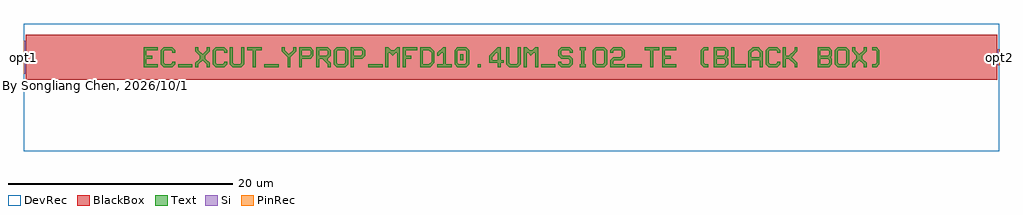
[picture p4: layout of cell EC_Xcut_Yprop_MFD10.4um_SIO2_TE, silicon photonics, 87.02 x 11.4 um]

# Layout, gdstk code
import gdstk
lib = gdstk.Library(unit=1e-6, precision=1e-10)
def R(c, l, rs):  # rectangles x0, y0, x1, y1
    for r in rs: c.add(gdstk.rectangle(r[:2], r[2:], *l))
def P(c, l, *ps):  # polygons
    for p in ps: c.add(gdstk.Polygon(p, *l))
Si = (1, 0)
PinRec = (1, 10)
Text = (10, 0)
DevRec = (68, 0)
BlackBox = (998, 0)

text_11 = lib.new_cell('TEXT$11')
R(text_11, Text, [(3.082,0,4.366,0.257), (10.787,0,12.071,0.257), (20.033,0,21.317,0.257), (29.793,0,30.05,0.257), (35.443,0,36.727,0.257), (43.148,0,44.432,0.257), (28.252,0.642,28.509,1.156)])
P(text_11, Text, [(0,0),(0,1.798),(1.284,1.798),(1.284,1.541),(0.257,1.541),(0.257,1.028),(0.771,1.028),(0.771,0.771),(0.257,0.771),(0.257,0.257),(1.284,0.257),(1.284,0)],
  [(1.798,0),(1.541,0.257),(1.541,1.541),(1.798,1.798),(2.569,1.798),(2.825,1.541),(2.825,1.284),(2.569,1.284),(2.569,1.413),(2.44,1.541),(1.926,1.541),(1.798,1.413),(1.798,0.385),(1.926,0.257),(2.44,0.257),(2.569,0.385),(2.569,0.514),(2.825,0.514),(2.825,0.257),(2.569,0)],
  [(4.623,0),(4.623,0.385),(5.008,0.771),(5.008,1.028),(4.623,1.413),(4.623,1.798),(4.88,1.798),(4.88,1.541),(5.265,1.156),(5.651,1.541),(5.651,1.798),(5.907,1.798),(5.907,1.413),(5.522,1.028),(5.522,0.771),(5.907,0.385),(5.907,0),(5.651,0),(5.651,0.257),(5.265,0.642),(4.88,0.257),(4.88,0)],
  [(6.421,0),(6.164,0.257),(6.164,1.541),(6.421,1.798),(7.192,1.798),(7.448,1.541),(7.448,1.284),(7.192,1.284),(7.192,1.413),(7.063,1.541),(6.549,1.541),(6.421,1.413),(6.421,0.385),(6.549,0.257),(7.063,0.257),(7.192,0.385),(7.192,0.514),(7.448,0.514),(7.448,0.257),(7.192,0)],
  [(7.962,0),(7.705,0.257),(7.705,1.798),(7.962,1.798),(7.962,0.385),(8.09,0.257),(8.604,0.257),(8.733,0.385),(8.733,1.798),(8.989,1.798),(8.989,0.257),(8.733,0)],
  [(9.76,0),(9.76,1.541),(9.246,1.541),(9.246,1.798),(10.53,1.798),(10.53,1.541),(10.017,1.541),(10.017,0)],
  [(12.842,0),(12.842,0.899),(12.328,1.413),(12.328,1.798),(12.585,1.798),(12.585,1.541),(12.97,1.156),(13.356,1.541),(13.356,1.798),(13.612,1.798),(13.612,1.413),(13.099,0.899),(13.099,0)],
  [(13.869,0),(13.869,1.798),(14.897,1.798),(15.153,1.541),(15.153,1.028),(14.897,0.771),(14.126,0.771),(14.126,1.028),(14.768,1.028),(14.897,1.156),(14.897,1.413),(14.768,1.541),(14.126,1.541),(14.126,0)],
  [(15.41,0),(15.41,1.798),(16.438,1.798),(16.694,1.541),(15.667,1.541),(15.667,1.028),(16.309,1.028),(16.438,1.156),(16.438,1.413),(16.309,1.541),(16.694,1.541),(16.694,1.028),(16.438,0.771),(16.438,0.642),(16.694,0.385),(16.694,0),(16.438,0),(16.438,0.257),(15.924,0.771),(15.667,0.771),(15.667,0)],
  [(17.208,0),(16.951,0.257),(16.951,1.541),(17.208,1.798),(17.979,1.798),(18.235,1.541),(18.235,0.899),(17.979,0.899),(17.979,1.413),(17.85,1.541),(17.336,1.541),(17.208,1.413),(17.208,0.385),(17.336,0.257),(17.85,0.257),(17.979,0.385),(17.979,0.899),(18.235,0.899),(18.235,0.257),(17.979,0)],
  [(18.492,0),(18.492,1.798),(19.52,1.798),(19.776,1.541),(19.776,1.028),(19.52,0.771),(18.749,0.771),(18.749,1.028),(19.391,1.028),(19.52,1.156),(19.52,1.413),(19.391,1.541),(18.749,1.541),(18.749,0)],
  [(21.574,0),(21.574,1.798),(21.831,1.798),(22.088,1.541),(22.345,1.541),(22.602,1.798),(22.858,1.798),(22.858,0),(22.602,0),(22.602,1.284),(22.473,1.284),(22.216,1.028),(21.959,1.284),(21.831,1.284),(21.831,0)],
  [(23.115,0),(23.115,1.798),(24.399,1.798),(24.399,1.541),(23.372,1.541),(23.372,1.028),(23.886,1.028),(23.886,0.771),(23.372,0.771),(23.372,0)],
  [(24.656,0),(24.656,1.798),(25.555,1.798),(25.812,1.541),(24.913,1.541),(24.913,0.257),(25.427,0.257),(25.684,0.514),(25.684,1.284),(25.427,1.541),(25.812,1.541),(25.94,1.413),(25.94,0.385),(25.555,0)],
  [(26.197,0),(26.197,0.257),(26.711,0.257),(26.711,1.284),(26.582,1.284),(26.325,1.028),(26.197,1.028),(26.197,1.284),(26.711,1.798),(26.968,1.798),(26.968,0.257),(27.481,0.257),(27.481,0)],
  [(27.995,0),(27.738,0.257),(27.738,1.541),(27.995,1.798),(28.766,1.798),(29.022,1.541),(28.123,1.541),(27.995,1.413),(27.995,0.385),(28.123,0.257),(28.637,0.257),(28.766,0.385),(28.766,1.413),(28.637,1.541),(29.022,1.541),(29.022,0.257),(28.766,0)],
  [(31.591,0),(31.591,0.385),(30.82,0.385),(30.82,0.642),(31.591,0.642),(31.591,1.284),(31.462,1.284),(31.077,0.899),(31.077,0.642),(30.82,0.642),(30.82,1.028),(31.591,1.798),(31.848,1.798),(31.848,0.642),(32.104,0.642),(32.104,0.385),(31.848,0.385),(31.848,0)],
  [(32.618,0),(32.361,0.257),(32.361,1.798),(32.618,1.798),(32.618,0.385),(32.746,0.257),(33.26,0.257),(33.389,0.385),(33.389,1.798),(33.645,1.798),(33.645,0.257),(33.389,0)],
  [(33.902,0),(33.902,1.798),(34.159,1.798),(34.416,1.541),(34.673,1.541),(34.93,1.798),(35.186,1.798),(35.186,0),(34.93,0),(34.93,1.284),(34.801,1.284),(34.544,1.028),(34.287,1.284),(34.159,1.284),(34.159,0)],
  [(37.241,0),(36.984,0.257),(36.984,0.514),(37.241,0.514),(37.241,0.385),(37.369,0.257),(37.883,0.257),(38.012,0.385),(38.012,0.642),(37.883,0.771),(37.241,0.771),(36.984,1.028),(36.984,1.541),(37.241,1.798),(38.012,1.798),(38.268,1.541),(38.268,1.284),(38.012,1.284),(38.012,1.413),(37.883,1.541),(37.369,1.541),(37.241,1.413),(37.241,1.156),(37.369,1.028),(38.012,1.028),(38.268,0.771),(38.268,0.257),(38.012,0)],
  [(38.91,0),(38.91,0.257),(39.039,0.257),(39.039,1.541),(38.91,1.541),(38.91,1.798),(39.424,1.798),(39.424,1.541),(39.296,1.541),(39.296,0.257),(39.424,0.257),(39.424,0)],
  [(40.323,0),(40.066,0.257),(40.066,1.541),(40.323,1.798),(41.094,1.798),(41.35,1.541),(41.35,0.899),(41.094,0.899),(41.094,1.413),(40.965,1.541),(40.451,1.541),(40.323,1.413),(40.323,0.385),(40.451,0.257),(40.965,0.257),(41.094,0.385),(41.094,0.899),(41.35,0.899),(41.35,0.257),(41.094,0)],
  [(41.607,0),(41.607,0.642),(41.864,0.899),(42.506,0.899),(42.635,1.028),(42.635,1.413),(42.506,1.541),(41.992,1.541),(41.864,1.413),(41.864,1.284),(41.607,1.284),(41.607,1.541),(41.864,1.798),(42.635,1.798),(42.891,1.541),(42.891,0.899),(42.635,0.642),(41.992,0.642),(41.864,0.514),(41.864,0.257),(42.891,0.257),(42.891,0)],
  [(45.203,0),(45.203,1.541),(44.689,1.541),(44.689,1.798),(45.973,1.798),(45.973,1.541),(45.46,1.541),(45.46,0)],
  [(46.23,0),(46.23,1.798),(47.514,1.798),(47.514,1.541),(46.487,1.541),(46.487,1.028),(47.001,1.028),(47.001,0.771),(46.487,0.771),(46.487,0.257),(47.514,0.257),(47.514,0)],
  [(49.954,0),(49.697,0.257),(49.697,1.541),(49.954,1.798),(50.34,1.798),(50.34,1.541),(50.083,1.541),(49.954,1.413),(49.954,0.385),(50.083,0.257),(50.34,0.257),(50.34,0)],
  [(50.853,0),(50.853,1.798),(51.881,1.798),(52.137,1.541),(51.11,1.541),(51.11,1.028),(51.752,1.028),(51.881,1.156),(51.881,1.413),(51.752,1.541),(52.137,1.541),(52.137,1.028),(52.009,0.899),(52.137,0.771),(51.11,0.771),(51.11,0.257),(51.752,0.257),(51.881,0.385),(51.881,0.642),(51.752,0.771),(52.137,0.771),(52.137,0.257),(51.881,0)],
  [(52.394,0),(52.394,1.798),(52.651,1.798),(52.651,0.257),(53.678,0.257),(53.678,0)],
  [(53.935,0),(53.935,1.413),(54.32,1.798),(54.834,1.798),(55.091,1.541),(54.449,1.541),(54.192,1.284),(54.192,0.899),(54.963,0.899),(54.963,1.284),(54.706,1.541),(55.091,1.541),(55.219,1.413),(55.219,0),(54.963,0),(54.963,0.642),(54.192,0.642),(54.192,0)],
  [(55.733,0),(55.476,0.257),(55.476,1.541),(55.733,1.798),(56.504,1.798),(56.76,1.541),(56.76,1.284),(56.504,1.284),(56.504,1.413),(56.375,1.541),(55.861,1.541),(55.733,1.413),(55.733,0.385),(55.861,0.257),(56.375,0.257),(56.504,0.385),(56.504,0.514),(56.76,0.514),(56.76,0.257),(56.504,0)],
  [(57.017,0),(57.017,1.798),(57.274,1.798),(57.274,1.028),(57.531,1.028),(58.045,1.541),(58.045,1.798),(58.301,1.798),(58.301,1.413),(57.788,0.899),(58.301,0.385),(58.301,0),(58.045,0),(58.045,0.257),(57.531,0.771),(57.274,0.771),(57.274,0)],
  [(60.099,0),(60.099,1.798),(61.127,1.798),(61.383,1.541),(60.356,1.541),(60.356,1.028),(60.998,1.028),(61.127,1.156),(61.127,1.413),(60.998,1.541),(61.383,1.541),(61.383,1.028),(61.255,0.899),(61.383,0.771),(60.356,0.771),(60.356,0.257),(60.998,0.257),(61.127,0.385),(61.127,0.642),(60.998,0.771),(61.383,0.771),(61.383,0.257),(61.127,0)],
  [(61.897,0),(61.64,0.257),(61.64,1.541),(61.897,1.798),(62.668,1.798),(62.924,1.541),(62.924,0.899),(62.668,0.899),(62.668,1.413),(62.539,1.541),(62.025,1.541),(61.897,1.413),(61.897,0.385),(62.025,0.257),(62.539,0.257),(62.668,0.385),(62.668,0.899),(62.924,0.899),(62.924,0.257),(62.668,0)],
  [(63.181,0),(63.181,0.385),(63.566,0.771),(63.566,1.028),(63.181,1.413),(63.181,1.798),(63.438,1.798),(63.438,1.541),(63.823,1.156),(64.209,1.541),(64.209,1.798),(64.465,1.798),(64.465,1.413),(64.08,1.028),(64.08,0.771),(64.465,0.385),(64.465,0),(64.209,0),(64.209,0.257),(63.823,0.642),(63.438,0.257),(63.438,0)],
  [(64.979,0),(64.979,0.257),(65.236,0.257),(65.364,0.385),(65.364,1.413),(65.236,1.541),(64.979,1.541),(64.979,1.798),(65.364,1.798),(65.621,1.541),(65.621,0.257),(65.364,0)])

ec_xcut_yprop_mfd10_4um_ = lib.new_cell('EC_Xcut_Yprop_MFD10.4um_SIO2_TE')
R(ec_xcut_yprop_mfd10_4um_, Si, [(-43.5,-1.4562,-43.3,1.4562), (43.3,-0.7,43.5,0.7)])
R(ec_xcut_yprop_mfd10_4um_, DevRec, [(-43.5,-8.398,43.5,2.998)])
R(ec_xcut_yprop_mfd10_4um_, BlackBox, [(-43.3,-1.998,43.3,1.998)])
ec_xcut_yprop_mfd10_4um_.add(gdstk.FlexPath([(-43.49,0),(-43.51,0)], 2.9124, ends="flush", simple_path=True, layer=1, datatype=10))  # PinRec
ec_xcut_yprop_mfd10_4um_.add(gdstk.FlexPath([(43.49,0),(43.51,0)], 1.4, ends="flush", simple_path=True, layer=1, datatype=10))  # PinRec
ec_xcut_yprop_mfd10_4um_.add(gdstk.Reference(text_11, (-32.8105,-0.899)))
ec_xcut_yprop_mfd10_4um_.add(gdstk.Label('By Songliang Chen, 2026/10/13', (-43,-2.498), layer=10, texttype=0))
ec_xcut_yprop_mfd10_4um_.add(gdstk.Label('opt1', (-43.5,0), layer=1, texttype=10))
ec_xcut_yprop_mfd10_4um_.add(gdstk.Label('opt2', (43.5,0), layer=1, texttype=10))

lib.write_gds('EC_Xcut_Yprop_MFD10.4um_SIO2_TE.gds')
